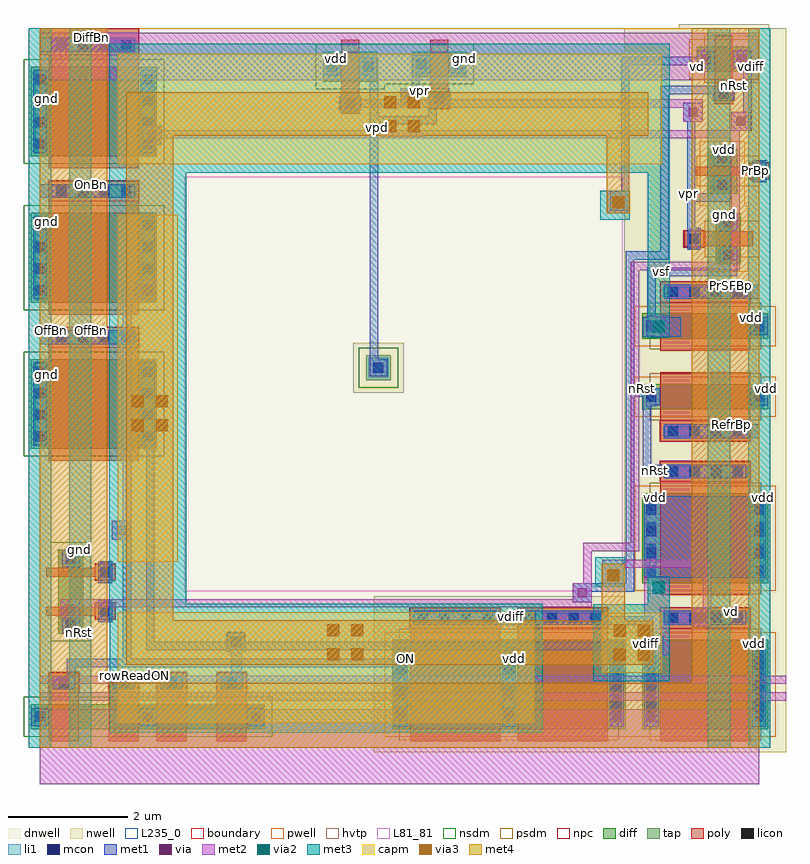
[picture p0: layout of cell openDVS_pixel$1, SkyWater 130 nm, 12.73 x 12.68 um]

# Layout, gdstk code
from math import pi, radians
import gdstk
lib = gdstk.Library(unit=1e-6, precision=1e-09)
def R(c, l, rs):  # rectangles x0, y0, x1, y1
    for r in rs: c.add(gdstk.rectangle(r[:2], r[2:], *l))
def A(c, l, x, y, w, h, nx, ny, dx, dy):  # array of equal rectangles
    R(c, l, [(x+i*dx, y+j*dy, x+i*dx+w, y+j*dy+h) for i in range(nx) for j in range(ny)])
def P(c, l, *ps):  # polygons
    for p in ps: c.add(gdstk.Polygon(p, *l))
dnwell = (64, 18)
nwell = (64, 20)
pwell = (64, 44)
diff = (65, 20)
tap = (65, 44)
poly = (66, 20)
licon = (66, 44)
li1 = (67, 20)
mcon = (67, 44)
met1 = (68, 20)
via = (68, 44)
met2 = (69, 20)
via2 = (69, 44)
met3 = (70, 20)
via3 = (70, 44)
met4 = (71, 20)
hvtp = (78, 44)
L81_81 = (81, 81)
capm = (89, 44)
nsdm = (93, 44)
psdm = (94, 20)
npc = (95, 20)
L235_0 = (235, 0)
boundary = (235, 4)

pfet_12_1 = lib.new_cell('pfet$12$1')
R(pfet_12_1, nwell, [(-0.305,-0.38,2.405,2.22)])
R(pfet_12_1, diff, [(0,0,2.1,1.5)])
R(pfet_12_1, poly, [(0.3,-0.2,1.8,1.7), (0.3,1.7,1.8,2.03)])
A(pfet_12_1, licon, 0.065, 0.125, 0.17, 0.17, 1, 4, 0, 0.36)
A(pfet_12_1, licon, 1.865, 0.125, 0.17, 0.17, 1, 4, 0, 0.36)
A(pfet_12_1, licon, 0.425, 1.78, 0.17, 0.17, 4, 1, 0.36, 0)
R(pfet_12_1, li1, [(0.065,0.045,0.235,1.455), (1.865,0.045,2.035,1.455), (0.345,1.78,1.755,1.95)])
A(pfet_12_1, mcon, 0.425, 1.78, 0.17, 0.17, 4, 1, 0.36, 0)
R(pfet_12_1, met1, [(0.365,1.75,1.735,1.98)])
R(pfet_12_1, hvtp, [(0.12,-0.18,1.98,1.68)])
R(pfet_12_1, psdm, [(-0.125,-0.125,2.225,1.625)])
R(pfet_12_1, npc, [(0.29,1.69,1.81,2.04)])

nfet_6_1 = lib.new_cell('nfet$6$1')
R(nfet_6_1, diff, [(0,0,2.1,1.5)])
R(nfet_6_1, poly, [(0.3,-0.2,1.8,1.7), (0.3,1.7,1.8,2.03)])
A(nfet_6_1, licon, 0.065, 0.125, 0.17, 0.17, 1, 4, 0, 0.36)
A(nfet_6_1, licon, 1.865, 0.125, 0.17, 0.17, 1, 4, 0, 0.36)
A(nfet_6_1, licon, 0.425, 1.78, 0.17, 0.17, 4, 1, 0.36, 0)
R(nfet_6_1, li1, [(0.065,0.045,0.235,1.455), (1.865,0.045,2.035,1.455), (0.345,1.78,1.755,1.95)])
A(nfet_6_1, mcon, 0.065, 0.125, 0.17, 0.17, 1, 4, 0, 0.36)
A(nfet_6_1, mcon, 1.865, 0.125, 0.17, 0.17, 1, 4, 0, 0.36)
A(nfet_6_1, mcon, 0.425, 1.78, 0.17, 0.17, 4, 1, 0.36, 0)
R(nfet_6_1, met1, [(0.035,0.065,0.265,1.435), (1.835,0.065,2.065,1.435), (0.365,1.75,1.735,1.98)])
R(nfet_6_1, nsdm, [(-0.125,-0.125,2.225,1.625)])
R(nfet_6_1, npc, [(0.29,1.69,1.81,2.04)])

pfet_13 = lib.new_cell('pfet$13')
R(pfet_13, nwell, [(-0.305,-0.38,1.205,1.14)])
R(pfet_13, diff, [(0,0,0.9,0.42)])
R(pfet_13, poly, [(0.3,-0.2,0.6,0.62), (0.3,0.62,0.6,0.95)])
R(pfet_13, licon, [(0.065,0.125,0.235,0.295), (0.665,0.125,0.835,0.295), (0.365,0.7,0.535,0.87)])
R(pfet_13, li1, [(0.065,0.045,0.235,0.375), (0.665,0.045,0.835,0.375), (0.285,0.7,0.615,0.87)])
R(pfet_13, mcon, [(0.065,0.125,0.235,0.295), (0.665,0.125,0.835,0.295), (0.365,0.7,0.535,0.87)])
R(pfet_13, met1, [(0.005,0.065,0.295,0.355), (0.605,0.065,0.895,0.355), (0.265,0.67,0.635,0.9)])
R(pfet_13, hvtp, [(0.12,-0.18,0.78,0.6)])
R(pfet_13, psdm, [(-0.125,-0.125,1.025,0.545)])
R(pfet_13, npc, [(0.29,0.61,0.61,0.96)])

nfet_2_1 = lib.new_cell('nfet$2$1')
R(nfet_2_1, diff, [(0,0,1.4,0.42)])
R(nfet_2_1, poly, [(0.3,-0.2,0.45,0.62), (0.95,-0.2,1.1,0.62), (0.24,0.62,0.51,0.95), (0.89,0.62,1.16,0.95)])
R(nfet_2_1, licon, [(0.065,0.125,0.235,0.295), (1.165,0.125,1.335,0.295), (0.29,0.7,0.46,0.87), (0.94,0.7,1.11,0.87)])
R(nfet_2_1, li1, [(0.065,0.045,0.235,0.375), (1.165,0.045,1.335,0.375), (0.21,0.7,0.54,0.87), (0.86,0.7,1.19,0.87)])
R(nfet_2_1, mcon, [(0.065,0.125,0.235,0.295), (1.165,0.125,1.335,0.295), (0.29,0.7,0.46,0.87), (0.94,0.7,1.11,0.87)])
R(nfet_2_1, met1, [(0.005,0.065,0.295,0.355), (1.105,0.065,1.395,0.355), (0.19,0.67,0.56,0.9), (0.84,0.67,1.21,0.9)])
R(nfet_2_1, nsdm, [(-0.125,-0.125,1.525,0.545)])
R(nfet_2_1, npc, [(0.23,0.61,0.52,0.96), (0.88,0.61,1.17,0.96)])

nfet_10_1 = lib.new_cell('nfet$10$1')
R(nfet_10_1, diff, [(0,0,2.1,0.42)])
R(nfet_10_1, poly, [(0.3,-0.2,0.8,0.62), (1.3,-0.2,1.8,0.62), (0.3,0.62,0.8,0.95), (1.3,0.62,1.8,0.95)])
R(nfet_10_1, licon, [(0.065,0.125,0.235,0.295), (1.865,0.125,2.035,0.295), (0.465,0.7,0.635,0.87), (1.465,0.7,1.635,0.87)])
R(nfet_10_1, li1, [(0.065,0.045,0.235,0.375), (1.865,0.045,2.035,0.375), (0.385,0.7,0.715,0.87), (1.385,0.7,1.715,0.87)])
R(nfet_10_1, mcon, [(0.065,0.125,0.235,0.295), (1.865,0.125,2.035,0.295), (0.465,0.7,0.635,0.87), (1.465,0.7,1.635,0.87)])
R(nfet_10_1, met1, [(0.005,0.065,0.295,0.355), (1.805,0.065,2.095,0.355), (0.365,0.67,0.735,0.9), (1.365,0.67,1.735,0.9)])
R(nfet_10_1, nsdm, [(-0.125,-0.125,2.225,0.545)])
R(nfet_10_1, npc, [(0.29,0.61,0.81,0.96), (1.29,0.61,1.81,0.96)])

pfet_15_1 = lib.new_cell('pfet$15$1')
R(pfet_15_1, nwell, [(-0.305,-0.38,1.155,1.14)])
R(pfet_15_1, diff, [(0,0,0.85,0.42)])
R(pfet_15_1, poly, [(0.3,-0.2,0.55,0.62), (0.29,0.62,0.56,0.95)])
R(pfet_15_1, licon, [(0.065,0.125,0.235,0.295), (0.615,0.125,0.785,0.295), (0.34,0.7,0.51,0.87)])
R(pfet_15_1, li1, [(0.065,0.045,0.235,0.375), (0.615,0.045,0.785,0.375), (0.26,0.7,0.59,0.87)])
R(pfet_15_1, mcon, [(0.065,0.125,0.235,0.295), (0.615,0.125,0.785,0.295), (0.34,0.7,0.51,0.87)])
R(pfet_15_1, met1, [(0.005,0.065,0.295,0.355), (0.555,0.065,0.845,0.355), (0.24,0.67,0.61,0.9)])
R(pfet_15_1, hvtp, [(0.12,-0.18,0.73,0.6)])
R(pfet_15_1, psdm, [(-0.125,-0.125,0.975,0.545)])
R(pfet_15_1, npc, [(0.28,0.61,0.57,0.96)])

contact_3 = lib.new_cell('contact$3')
R(contact_3, tap, [(-0.205,-0.205,0.205,0.205)])
R(contact_3, licon, [(-0.085,-0.085,0.085,0.085)])
R(contact_3, li1, [(-0.165,-0.165,0.165,0.165)])

pfet_8_1 = lib.new_cell('pfet$8$1')
R(pfet_8_1, nwell, [(-0.305,-0.38,1.055,1.22)])
R(pfet_8_1, diff, [(0,0,0.75,0.5)])
R(pfet_8_1, poly, [(0.3,-0.2,0.45,0.7), (0.24,0.7,0.51,1.03)])
R(pfet_8_1, licon, [(0.065,0.165,0.235,0.335), (0.515,0.165,0.685,0.335), (0.29,0.78,0.46,0.95)])
R(pfet_8_1, li1, [(0.065,0.085,0.235,0.415), (0.515,0.085,0.685,0.415), (0.21,0.78,0.54,0.95)])
R(pfet_8_1, mcon, [(0.065,0.165,0.235,0.335), (0.515,0.165,0.685,0.335), (0.29,0.78,0.46,0.95)])
R(pfet_8_1, met1, [(0.005,0.105,0.295,0.395), (0.455,0.105,0.745,0.395), (0.19,0.75,0.56,0.98)])
R(pfet_8_1, hvtp, [(0.12,-0.18,0.63,0.68)])
R(pfet_8_1, psdm, [(-0.125,-0.125,0.875,0.625)])
R(pfet_8_1, npc, [(0.23,0.69,0.52,1.04)])

pfet_10_1 = lib.new_cell('pfet$10$1')
R(pfet_10_1, nwell, [(-0.305,-0.38,2.405,1.14)])
R(pfet_10_1, diff, [(0,0,2.1,0.42)])
R(pfet_10_1, poly, [(0.3,-0.2,1.8,0.62), (0.3,0.62,1.8,0.95)])
A(pfet_10_1, licon, 0.425, 0.7, 0.17, 0.17, 4, 1, 0.36, 0)
R(pfet_10_1, licon, [(0.065,0.125,0.235,0.295), (1.865,0.125,2.035,0.295)])
R(pfet_10_1, li1, [(0.065,0.045,0.235,0.375), (1.865,0.045,2.035,0.375), (0.345,0.7,1.755,0.87)])
A(pfet_10_1, mcon, 0.425, 0.7, 0.17, 0.17, 4, 1, 0.36, 0)
R(pfet_10_1, mcon, [(0.065,0.125,0.235,0.295), (1.865,0.125,2.035,0.295)])
R(pfet_10_1, met1, [(0.005,0.065,0.295,0.355), (1.805,0.065,2.095,0.355), (0.365,0.67,1.735,0.9)])
R(pfet_10_1, hvtp, [(0.12,-0.18,1.98,0.6)])
R(pfet_10_1, psdm, [(-0.125,-0.125,2.225,0.545)])
R(pfet_10_1, npc, [(0.29,0.61,1.81,0.96)])

nfet_11_1 = lib.new_cell('nfet$11$1')
R(nfet_11_1, diff, [(0,0,0.9,0.5)])
R(nfet_11_1, poly, [(0.3,-0.2,0.6,0.7), (0.3,0.7,0.6,1.03)])
R(nfet_11_1, licon, [(0.065,0.165,0.235,0.335), (0.665,0.165,0.835,0.335), (0.365,0.78,0.535,0.95)])
R(nfet_11_1, li1, [(0.065,0.085,0.235,0.415), (0.665,0.085,0.835,0.415), (0.285,0.78,0.615,0.95)])
R(nfet_11_1, mcon, [(0.065,0.165,0.235,0.335), (0.665,0.165,0.835,0.335), (0.365,0.78,0.535,0.95)])
R(nfet_11_1, met1, [(0.005,0.105,0.295,0.395), (0.605,0.105,0.895,0.395), (0.265,0.75,0.635,0.98)])
R(nfet_11_1, nsdm, [(-0.125,-0.125,1.025,0.625)])
R(nfet_11_1, npc, [(0.29,0.69,0.61,1.04)])

contact_6 = lib.new_cell('contact$6')
R(contact_6, met1, [(-0.16,-0.16,0.16,0.16)])
R(contact_6, via, [(-0.075,-0.075,0.075,0.075)])
R(contact_6, met2, [(-0.16,-0.16,0.16,0.16)])

contact_2_1 = lib.new_cell('contact$2$1')
R(contact_2_1, li1, [(-0.165,-0.165,0.165,0.165)])
R(contact_2_1, mcon, [(-0.085,-0.085,0.085,0.085)])
R(contact_2_1, met1, [(-0.145,-0.145,0.145,0.145)])

contact_pd = lib.new_cell('contact_pd')
R(contact_pd, li1, [(-0.165,-0.165,0.165,0.165)])
R(contact_pd, mcon, [(-0.085,-0.085,0.085,0.085)])
R(contact_pd, met1, [(-0.145,-0.145,0.145,0.145)])

contact_4 = lib.new_cell('contact$4')
R(contact_4, met2, [(-0.185,-0.185,0.185,0.185)])
R(contact_4, via2, [(-0.1,-0.1,0.1,0.1)])
R(contact_4, met3, [(-0.185,-0.185,0.185,0.185)])

contact_5 = lib.new_cell('contact$5')
R(contact_5, met3, [(-0.19,-0.19,0.19,0.19)])
R(contact_5, via3, [(-0.1,-0.1,0.1,0.1)])
R(contact_5, met4, [(-0.19,-0.19,0.19,0.19)])

nfet_3 = lib.new_cell('nfet$3')
R(nfet_3, diff, [(0,0,0.9,0.42)])
R(nfet_3, poly, [(0.3,-0.2,0.6,0.62), (0.3,0.62,0.6,0.95)])
R(nfet_3, licon, [(0.065,0.125,0.235,0.295), (0.665,0.125,0.835,0.295), (0.365,0.7,0.535,0.87)])
R(nfet_3, li1, [(0.065,0.045,0.235,0.375), (0.665,0.045,0.835,0.375), (0.285,0.7,0.615,0.87)])
R(nfet_3, mcon, [(0.065,0.125,0.235,0.295), (0.665,0.125,0.835,0.295), (0.365,0.7,0.535,0.87)])
R(nfet_3, met1, [(0.005,0.065,0.295,0.355), (0.605,0.065,0.895,0.355), (0.265,0.67,0.635,0.9)])
R(nfet_3, nsdm, [(-0.125,-0.125,1.025,0.545)])
R(nfet_3, npc, [(0.29,0.61,0.61,0.96)])

c_c1 = lib.new_cell('c1')
R(c_c1, met3, [(-1.485,-9.345,7.87,-7.195), (6.585,-7.195,7.87,0), (0.64,0,7.865,2.15)])
R(c_c1, via3, [(2.685,-8.47,2.885,-8.27), (3.085,-8.47,3.285,-8.27), (2.685,-8.07,2.885,-7.87), (3.085,-8.07,3.285,-7.87), (6.89,-3.48,7.09,-3.28), (7.29,-3.48,7.49,-3.28), (6.89,-3.08,7.09,-2.88), (7.29,-3.08,7.49,-2.88), (3.635,0.34,3.835,0.54), (4.035,0.34,4.235,0.54), (3.635,0.74,3.835,0.94), (4.035,0.74,4.235,0.94)])
R(c_c1, met4, [(2.62,-8.535,3.35,-7.805), (6.8,-8.145,7.53,-7.415), (6.8,-8.145,7.585,1.005), (6.855,-6.085,7.585,-5.355), (6.825,-3.545,7.555,-2.815), (0.275,0.275,7.585,1.005), (3.57,0.275,4.3,1.005), (0.275,0.285,7.585,1.015)])
P(c_c1, met4, [(-1.125,-8.54),(-1.125,-8.07),(-1.125,-7.81),(7.585,-7.81),(7.585,-8.54)])
R(c_c1, capm, [(-1.345,-9.18,7.73,-7.335), (6.725,-6.495,7.73,-0.7), (0.78,0.14,7.725,1.98)])

c_c2 = lib.new_cell('c2')
R(c_c2, met3, [(0,0,1.28,1.28)])
R(c_c2, via3, [(0.34,0.34,0.54,0.54), (0.74,0.34,0.94,0.54), (0.34,0.74,0.54,0.94), (0.74,0.74,0.94,0.94)])
R(c_c2, met4, [(0.275,0.275,1.005,1.005)])
R(c_c2, capm, [(0.14,0.14,1.14,1.14)])

opendvs_pixel_1 = lib.new_cell('openDVS_pixel$1')
R(opendvs_pixel_1, dnwell, [(0.16,0.13,12.16,12.13)])
R(opendvs_pixel_1, nwell, [(9.905,0.06,12.615,12.135), (9.905,4.995,12.615,5.055), (5.385,6.05,6.225,6.89), (11.915,8.02,12.455,9.065), (12,9.065,12.455,11.95), (10.4,9.35,10.915,10.43)])
R(opendvs_pixel_1, pwell, [(0.16,0.13,12.16,12.13)])
R(opendvs_pixel_1, poly, [(0.16,11.695,1.81,12.13)])
A(opendvs_pixel_1, mcon, 6.1, 0.635, 0.17, 0.17, 1, 3, 0, 0.36)
A(opendvs_pixel_1, mcon, 7.9, 0.635, 0.17, 0.17, 1, 3, 0, 0.36)
A(opendvs_pixel_1, mcon, 9.7, 0.735, 0.17, 0.17, 1, 3, 0, 0.36)
A(opendvs_pixel_1, mcon, 10.275, 0.735, 0.17, 0.17, 1, 3, 0, 0.36)
A(opendvs_pixel_1, mcon, 12.075, 0.735, 0.17, 0.17, 1, 3, 0, 0.36)
A(opendvs_pixel_1, mcon, 12.075, 3.295, 0.17, 0.17, 1, 3, 0, 0.36)
R(opendvs_pixel_1, mcon, [(10.275,3.295,10.445,3.465), (10.275,3.295,10.445,3.465), (10.275,3.655,10.445,3.825), (10.275,3.655,10.445,3.825), (10.275,4.015,10.445,4.185), (10.275,4.015,10.445,4.185)])
A(opendvs_pixel_1, met1, 0.16, 6.865, 0.215, 0.23, 1, 3, 0, 2.44)
R(opendvs_pixel_1, met1, [(6.07,0.48,6.3,1.615), (7.87,0.48,8.1,1.615), (10.245,2.97,10.445,4.33), (10.275,2.97,12.245,4.33), (12.075,2.97,12.275,4.33), (11.945,5.295,12.16,5.525), (10.215,6.99,10.85,7.31), (11.945,7.625,12.16,7.855), (11.5,8.135,11.79,8.2)])
P(opendvs_pixel_1, met1, [(9.67,0.48),(9.67,1.875),(9.79,1.875),(9.9,1.875),(9.9,0.48)],
  [(10.25,0.48),(10.25,1.875),(10.365,1.875),(10.48,1.875),(10.48,0.48)],
  [(12.045,0.48),(12.045,1.875),(12.165,1.875),(12.275,1.875),(12.275,0.48)])
R(opendvs_pixel_1, met2, [(10.245,1.67,10.67,2.99), (0.16,11.27,12.16,12.06)])
P(opendvs_pixel_1, met2, [(0.16,-0.475),(0.16,0.775),(12.16,0.775),(12.16,0.01),(12.16,-0.475)])
R(opendvs_pixel_1, met3, [(10.3,2.52,10.67,2.62), (9.425,2.82,9.915,3.31), (10.3,6.97,10.67,9.725), (9.51,8.935,10,9.425)])
R(opendvs_pixel_1, met4, [(0.155,0.13,12.155,1.215), (0.16,0.13,1.285,12.13), (11.035,0.13,12.16,12.13), (8.895,1.515,10.025,2.245), (9.535,2.21,9.915,3.04), (9.62,9.045,9.995,10.34)])
R(opendvs_pixel_1, hvtp, [(12.035,8.315,12.16,8.925), (11.975,9.495,12.16,10.005), (11.9,11.225,12.16,12.005)])
R(opendvs_pixel_1, L81_81, [(2.57,2.745,9.88,9.66)])
R(opendvs_pixel_1, nsdm, [(5.475,6.14,6.135,6.8), (5.91,11.2,6.27,11.87)])
R(opendvs_pixel_1, psdm, [(10.01,0.31,10.195,2.06), (11.17,9.17,11.92,9.25)])
R(opendvs_pixel_1, npc, [(0.16,11.685,1.82,12.13)])
R(opendvs_pixel_1, L235_0, [(0.16,0.13,12.16,12.13)])
R(opendvs_pixel_1, boundary, [(10.445,0.725,10.51,0.73)])
opendvs_pixel_1.add(gdstk.FlexPath([(5.755,10.6),(6.71,10.6),(6.71,11.075)], 0.14, ends="flush", simple_path=True, layer=68, datatype=20))  # met1
opendvs_pixel_1.add(gdstk.FlexPath([(9.57,2.255),(10.315,2.255),(10.315,0.48)], 0.14, ends="flush", simple_path=True, layer=68, datatype=20))  # met1
opendvs_pixel_1.add(gdstk.FlexPath([(9.9,1.825),(3.3,1.825)], 0.14, ends="flush", simple_path=True, layer=68, datatype=20))  # met1
opendvs_pixel_1.add(gdstk.FlexPath([(9.925,11.57),(9.925,9.27)], 0.14, ends="flush", simple_path=True, layer=68, datatype=20))  # met1
opendvs_pixel_1.add(gdstk.FlexPath([(11.23,11.585),(9.855,11.585)], 0.14, ends="flush", simple_path=True, layer=68, datatype=20))  # met1
opendvs_pixel_1.add(gdstk.FlexPath([(10.005,7.92),(10.005,8.345),(10.58,8.345),(10.58,11.105),(11.755,11.105)], 0.14, ends="flush", simple_path=True, layer=68, datatype=20))  # met1
opendvs_pixel_1.add(gdstk.FlexPath([(6.43,11.68),(6.43,11.005)], 0.14, ends="flush", simple_path=True, layer=68, datatype=20))  # met1
opendvs_pixel_1.add(gdstk.FlexPath([(11.025,9.235),(11.025,10.895)], 0.14, ends="flush", simple_path=True, layer=68, datatype=20))  # met1
opendvs_pixel_1.add(gdstk.FlexPath([(11.965,10.425),(11.965,11.76)], 0.14, ends="flush", simple_path=True, layer=68, datatype=20))  # met1
opendvs_pixel_1.add(gdstk.FlexPath([(1.61,3.655),(1.61,1.505)], 0.14, ends="flush", simple_path=True, layer=68, datatype=20))  # met1
opendvs_pixel_1.add(gdstk.FlexPath([(10.005,6.06),(10.005,2.805),(9.34,2.805)], 0.14, ends="flush", simple_path=True, layer=68, datatype=20))  # met1
opendvs_pixel_1.add(gdstk.FlexPath([(2,5.18),(2,1.825),(3.41,1.825)], 0.14, ends="flush", simple_path=True, layer=68, datatype=20))  # met1
opendvs_pixel_1.add(gdstk.FlexPath([(10.005,7.92),(10.005,7.015),(10.005,6.75)], 0.14, ends="flush", simple_path=True, layer=68, datatype=20))  # met1
opendvs_pixel_1.add(gdstk.FlexPath([(10.005,6.75),(10.005,6.06),(10.215,6.06)], 0.14, ends="flush", simple_path=True, layer=68, datatype=20))  # met1
opendvs_pixel_1.add(gdstk.FlexPath([(10.365,7.31),(10.365,8.065),(11.79,8.065)], 0.14, ends="flush", simple_path=True, layer=68, datatype=20))  # met1
opendvs_pixel_1.add(gdstk.FlexPath([(8.2,2.255),(7.77,2.255)], 0.14, ends="flush", simple_path=True, layer=68, datatype=20))  # met1
opendvs_pixel_1.add(gdstk.FlexPath([(10.285,5.84),(10.285,4.785),(10.575,4.785)], 0.14, ends="flush", simple_path=True, layer=68, datatype=20))  # met1
opendvs_pixel_1.add(gdstk.FlexPath([(6.155,1.545),(0.605,1.545)], 0.14, ends="flush", simple_path=True, layer=68, datatype=20))  # met1
opendvs_pixel_1.add(gdstk.FlexPath([(0.675,1.55),(0.675,1.215)], 0.14, ends="flush", simple_path=True, layer=68, datatype=20))  # met1
opendvs_pixel_1.add(gdstk.FlexPath([(11.025,8.805),(11.025,9.31),(11.69,9.31)], 0.14, ends="flush", simple_path=True, layer=68, datatype=20))  # met1
opendvs_pixel_1.add(gdstk.FlexPath([(5.73,11.64),(5.73,6.435)], 0.14, ends="flush", simple_path=True, layer=68, datatype=20))  # met1
opendvs_pixel_1.add(gdstk.FlexPath([(10.16,3.48),(9.295,3.48),(9.295,2.62)], 0.14, ends="flush", simple_path=True, layer=69, datatype=20))  # met2
opendvs_pixel_1.add(gdstk.FlexPath([(11.36,3.2),(9.54,3.2)], 0.14, ends="flush", simple_path=True, layer=69, datatype=20))  # met2
opendvs_pixel_1.add(gdstk.FlexPath([(10.09,3.41),(10.09,8.165),(11.765,8.165),(11.765,10.705),(11.765,10.745)], 0.14, ends="flush", simple_path=True, layer=69, datatype=20))  # met2
opendvs_pixel_1.add(gdstk.FlexPath([(11.29,3.19),(11.29,2.225)], 0.14, ends="flush", simple_path=True, layer=69, datatype=20))  # met2
opendvs_pixel_1.add(gdstk.FlexPath([(12.61,1.265),(0.16,1.265)], 0.14, ends="flush", simple_path=True, layer=69, datatype=20))  # met2
opendvs_pixel_1.add(gdstk.FlexPath([(12.61,0.985),(0.16,0.985)], 0.14, ends="flush", simple_path=True, layer=69, datatype=20))  # met2
opendvs_pixel_1.add(gdstk.FlexPath([(5.335,10.88),(11.215,10.88)], 0.14, ends="flush", simple_path=True, layer=69, datatype=20))  # met2
opendvs_pixel_1.add(gdstk.FlexPath([(2.195,10.365),(11.76,10.365)], 0.14, ends="flush", simple_path=True, layer=69, datatype=20))  # met2
opendvs_pixel_1.add(gdstk.FlexPath([(1.61,3.6),(1.61,7.69),(1.97,7.69)], 0.14, ends="flush", simple_path=True, layer=69, datatype=20))  # met2
opendvs_pixel_1.add(gdstk.FlexPath([(0.57,2.54),(9.365,2.54)], 0.14, ends="flush", simple_path=True, layer=69, datatype=20))  # met2
opendvs_pixel_1.add(gdstk.FlexPath([(11.49,12.13),(11.49,0.13)], 0.37, ends="flush", simple_path=True, layer=70, datatype=20))  # met3
opendvs_pixel_1.add(gdstk.FlexPath([(12.16,12.13),(12.16,0.13)], 0.37, ends="flush", simple_path=True, layer=70, datatype=20))  # met3
opendvs_pixel_1.add(gdstk.FlexPath([(0.83,12.13),(0.83,0.13)], 0.37, ends="flush", simple_path=True, layer=70, datatype=20))  # met3
opendvs_pixel_1.add(gdstk.FlexPath([(0.16,12.13),(0.16,0.13)], 0.37, ends="flush", simple_path=True, layer=70, datatype=20))  # met3
opendvs_pixel_1.add(gdstk.FlexPath([(3.44,1.735),(3.44,1.305)], 0.17, ends="flush", simple_path=True, layer=67, datatype=20))  # li1
opendvs_pixel_1.add(gdstk.Reference(pfet_12_1, (6.035,0.435)))
opendvs_pixel_1.add(gdstk.Reference(nfet_6_1, (0.01,7.555)))
opendvs_pixel_1.add(gdstk.Reference(nfet_6_1, (0.01,5.115)))
opendvs_pixel_1.add(gdstk.Reference(pfet_13, (12.02,11.825), rotation=pi))
opendvs_pixel_1.add(gdstk.Reference(nfet_2_1, (0.465,3.435), rotation=3*pi/2))
opendvs_pixel_1.add(gdstk.Reference(nfet_10_1, (1.81,0.435)))
opendvs_pixel_1.add(gdstk.Reference(pfet_15_1, (11.855,8.195), rotation=pi/2))
opendvs_pixel_1.add(gdstk.Reference(contact_3, (5.805,6.47)))
opendvs_pixel_1.add(gdstk.Reference(pfet_8_1, (11.295,10.125), rotation=3*pi/2))
opendvs_pixel_1.add(gdstk.Reference(pfet_10_1, (12.31,6.195), rotation=pi))
opendvs_pixel_1.add(gdstk.Reference(pfet_10_1, (10.21,6.955)))
opendvs_pixel_1.add(gdstk.Reference(pfet_12_1, (10.21,2.875)))
opendvs_pixel_1.add(gdstk.Reference(nfet_11_1, (5.785,11.745), rotation=pi))
opendvs_pixel_1.add(gdstk.Reference(pfet_12_1, (7.835,0.435)))
opendvs_pixel_1.add(gdstk.Reference(contact_6, (0.66,2.45)))
opendvs_pixel_1.add(gdstk.Reference(contact_2_1, (3.43,1.9)))
opendvs_pixel_1.add(gdstk.Reference(contact_6, (11.855,10.585)))
opendvs_pixel_1.add(gdstk.Reference(contact_pd, (5.805,6.47)))
opendvs_pixel_1.add(gdstk.Reference(nfet_10_1, (0.01,0.435)))
opendvs_pixel_1.add(gdstk.Reference(contact_4, (10.485,7.155)))
opendvs_pixel_1.add(gdstk.Reference(contact_6, (2.035,10.35)))
opendvs_pixel_1.add(gdstk.Reference(contact_6, (5.335,10.895)))
opendvs_pixel_1.add(gdstk.Reference(contact_6, (6.34,10.97)))
opendvs_pixel_1.add(gdstk.Reference(contact_6, (11.055,10.735)))
opendvs_pixel_1.add(gdstk.Reference(contact_4, (9.725,3.005)))
opendvs_pixel_1.add(gdstk.Reference(contact_5, (9.725,3.01)))
opendvs_pixel_1.add(gdstk.Reference(contact_6, (9.205,2.715)))
opendvs_pixel_1.add(gdstk.Reference(contact_6, (1.915,7.78)))
opendvs_pixel_1.add(gdstk.Reference(contact_6, (1.52,3.76)))
opendvs_pixel_1.add(gdstk.Reference(nfet_3, (7.275,11.745), rotation=pi))
opendvs_pixel_1.add(gdstk.Reference(contact_4, (9.81,9.235)))
opendvs_pixel_1.add(gdstk.Reference(contact_5, (9.81,9.235)))
opendvs_pixel_1.add(gdstk.Reference(contact_6, (9.835,9.25)))
opendvs_pixel_1.add(gdstk.Reference(c_c1, (9.185,2.53), rotation=pi))
opendvs_pixel_1.add(gdstk.Reference(contact_6, (10.405,1.83)))
opendvs_pixel_1.add(gdstk.Reference(contact_6, (10.485,7.15)))
opendvs_pixel_1.add(gdstk.Reference(pfet_12_1, (10.21,0.435)))
opendvs_pixel_1.add(gdstk.Reference(c_c2, (10.67,2.52), rotation=pi))
opendvs_pixel_1.add(gdstk.Reference(nfet_6_1, (0.01,9.995)))
opendvs_pixel_1.add(gdstk.Reference(contact_4, (10.485,2.805)))
opendvs_pixel_1.add(gdstk.Reference(contact_6, (11.2,2.31)))
opendvs_pixel_1.add(gdstk.Label('vdiff', (10.255,1.865), layer=68, texttype=5))
opendvs_pixel_1.add(gdstk.Label('OffBn', (0.345,7.095), layer=68, texttype=5))
opendvs_pixel_1.add(gdstk.Label('vsf', (10.535,8.075), layer=68, texttype=5))
opendvs_pixel_1.add(gdstk.Label('vdd', (12.075,1.875), layer=68, texttype=5))
opendvs_pixel_1.add(gdstk.Label('vdd', (12.235,1.86), layer=68, texttype=5))
opendvs_pixel_1.add(gdstk.Label('PrBp', (12.095,9.765), layer=68, texttype=5))
opendvs_pixel_1.add(gdstk.Label('vdd', (11.575,10.105), layer=68, texttype=5))
opendvs_pixel_1.add(gdstk.Label('vpr', (10.975,9.38), layer=68, texttype=5))
opendvs_pixel_1.add(gdstk.Label('vdd', (10.43,4.305), layer=68, texttype=5))
opendvs_pixel_1.add(gdstk.Label('vpr', (6.5,11.09), layer=68, texttype=5))
opendvs_pixel_1.add(gdstk.Label('vpd', (5.795,10.48), layer=68, texttype=5))
opendvs_pixel_1.add(gdstk.Label('nRst', (11.745,11.175), layer=68, texttype=5))
opendvs_pixel_1.add(gdstk.Label('gnd', (7.25,11.63), layer=68, texttype=5))
opendvs_pixel_1.add(gdstk.Label('vdd', (5.1,11.63), layer=68, texttype=5))
opendvs_pixel_1.add(gdstk.Label('vdd', (12.035,7.31), layer=68, texttype=5))
opendvs_pixel_1.add(gdstk.Label('RefrBp', (11.7,5.525), layer=68, texttype=5))
opendvs_pixel_1.add(gdstk.Label('vd', (11.7,2.41), layer=68, texttype=5))
opendvs_pixel_1.add(gdstk.Label('nOFF', (9.87,1.895), layer=68, texttype=5))
opendvs_pixel_1.add(gdstk.Label('ON', (6.25,1.615), layer=68, texttype=5))
opendvs_pixel_1.add(gdstk.Label('vdd', (8.07,1.615), layer=68, texttype=5))
opendvs_pixel_1.add(gdstk.Label('nRst', (0.815,2.05), layer=68, texttype=5))
opendvs_pixel_1.add(gdstk.Label('gnd', (0.815,3.43), layer=68, texttype=5))
opendvs_pixel_1.add(gdstk.Label('rowReadON', (1.365,3.245), layer=68, texttype=5))
opendvs_pixel_1.add(gdstk.Label('pixRst', (1.365,2.23), layer=68, texttype=5))
opendvs_pixel_1.add(gdstk.Label('rowReadON', (1.745,1.335), layer=68, texttype=5))
opendvs_pixel_1.add(gdstk.Label('rowReadOFF', (2.545,1.335), layer=68, texttype=5))
opendvs_pixel_1.add(gdstk.Label('OffBn', (1.015,7.095), layer=68, texttype=5))
opendvs_pixel_1.add(gdstk.Label('OnBn', (1.015,9.535), layer=68, texttype=5))
opendvs_pixel_1.add(gdstk.Label('DiffBn', (1.015,11.975), layer=68, texttype=5))
opendvs_pixel_1.add(gdstk.Label('gnd', (0.275,6.36), layer=68, texttype=5))
opendvs_pixel_1.add(gdstk.Label('gnd', (0.275,8.905), layer=68, texttype=5))
opendvs_pixel_1.add(gdstk.Label('gnd', (0.275,10.955), layer=68, texttype=5))
opendvs_pixel_1.add(gdstk.Label('vdd', (12.275,7.31), layer=68, texttype=5))
opendvs_pixel_1.add(gdstk.Label('vdiff', (8.005,2.325), layer=68, texttype=5))
opendvs_pixel_1.add(gdstk.Label('vdd', (12.23,4.305), layer=68, texttype=5))
opendvs_pixel_1.add(gdstk.Label('PrBp', (12.055,9.935), layer=68, texttype=5))
opendvs_pixel_1.add(gdstk.Label('gnd', (11.575,9.035), layer=68, texttype=5))
opendvs_pixel_1.add(gdstk.Label('vdiff', (12.015,11.5), layer=68, texttype=5))
opendvs_pixel_1.add(gdstk.Label('vd', (11.135,11.5), layer=68, texttype=5))
opendvs_pixel_1.add(gdstk.Label('nRst', (10.22,6.13), layer=68, texttype=5))
opendvs_pixel_1.add(gdstk.Label('vdd', (12.275,6.13), layer=68, texttype=5))
opendvs_pixel_1.add(gdstk.Label('vdd', (12.14,7.2), layer=68, texttype=5))
opendvs_pixel_1.add(gdstk.Label('PrSFBp', (11.7,7.85), layer=68, texttype=5))
opendvs_pixel_1.add(gdstk.Label('nRst', (10.43,4.75), layer=68, texttype=5))

lib.write_gds('openDVS_pixel_1.gds')
